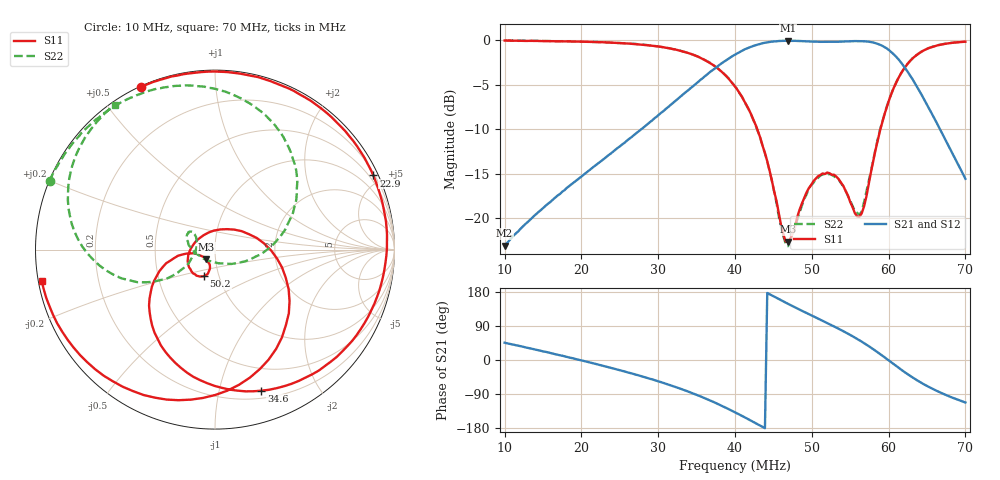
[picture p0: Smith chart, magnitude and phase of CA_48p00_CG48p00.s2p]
#  HZ  S  RI  R  50.00
! Rohde & Schwarz ZVT8 8Ports - Version 4.11 - 1300.0000k08 SN: 100242
! Date: 2026-07-31 15:11:46
! Measurements: S11 S21 S12 S22
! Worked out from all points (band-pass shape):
!   201 points, 10 MHz to 70 MHz, reference 50 ohm
!   highest |S21| = -0.06 dB at 46.9 MHz (marker M1); lowest = -23.1 dB at 10 MHz (marker M2)
!   |S21| within 3 dB of the highest: 37.56 MHz to 62.09 MHz (24.53 MHz wide, 49.2 % of centre)
!   lowest |S11| = -22.7 dB at 46.9 MHz (marker M3), VSWR 1.16, Z = 45.1 - j4.95 ohm
!   |S11| at or under -10 dB: 42.89 MHz to 58.93 MHz (16.04 MHz wide, 31.5 % of centre)
!   |S22| runs from -23.2 to 0.0 dB; largest |S21 - S12| = 0.0028
!   S11 on the Smith chart (normalised r, x): 10 MHz: 0.00, +0.65; 22.9 MHz: 0.27, +4.47; 34.6 MHz: 0.27, -1.34; 50.2 MHz: 0.85, -0.26; 70 MHz: 0.01, -0.09
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1e7  -0.4105 0.908  0.0489 0.0501  0.0487 0.0499  -0.9205 0.3815
1.51e7  0.1723 0.9742  0.106 0.0436  0.1058 0.0436  -0.812 0.5655
2.02e7  0.6985 0.6887  0.1739 -0.00595  0.1734 -0.00602  -0.6543 0.7306
2.29e7  0.8822 0.4134  0.2065 -0.0578  0.2068 -0.0572  -0.5417 0.8077
2.65e7  0.9547 -0.0338  0.2327 -0.1638  0.2328 -0.1645  -0.3572 0.8876
3.01e7  0.7894 -0.4758  0.2085 -0.3191  0.2094 -0.3188  -0.1248 0.9139
3.46e7  0.2577 -0.7861  0.0121 -0.5547  0.0117 -0.5549  0.2184 0.7983
3.73e7  -0.1208 -0.7086  -0.2539 -0.6409  -0.255 -0.6414  0.3948 0.5996
4e7  -0.3501 -0.4238  -0.6168 -0.5554  -0.6174 -0.5539  0.4553 0.3074
4.36e7  -0.2468 -0.0604  -0.9614 -0.0562  -0.9602 -0.0569  0.253 -0.0275
4.63e7  -0.0717 -0.0371  -0.8961 0.4275  -0.8941 0.4278  0.0204 -0.0762
4.69e7  -0.0491 -0.0547  -0.845 0.5223  -0.8439 0.5228  -0.0259 -0.0644
5.02e7  -0.0625 -0.1482  -0.4193 0.8884  -0.4208 0.8883  -0.1508 0.045
5.35e7  -0.1522 -0.0649  0.1295 0.9724  0.1288 0.9724  -0.1301 0.1005
5.62e7  -0.0339 0.0959  0.6073 0.7799  0.6068 0.7797  -0.1035 0.0117
5.83e7  0.2328 0.0647  0.8771 0.3963  0.8773 0.3965  -0.2081 -0.1284
6.01e7  0.4103 -0.221  0.8758 -0.0354  0.8741 -0.0374  -0.4316 -0.1818
6.19e7  0.299 -0.6126  0.63 -0.3536  0.6303 -0.3547  -0.6783 -0.0563
6.31e7  0.0691 -0.7857  0.4225 -0.4341  0.4208 -0.4335  -0.7833 0.1013
6.43e7  -0.2037 -0.8391  0.2418 -0.43  0.2407 -0.4303  -0.8196 0.2732
6.73e7  -0.7515 -0.588  -0.00443 -0.2806  -0.00523 -0.2811  -0.7265 0.6201
7e7  -0.9661 -0.1745  -0.0627 -0.1538  -0.063 -0.1537  -0.5596 0.807
